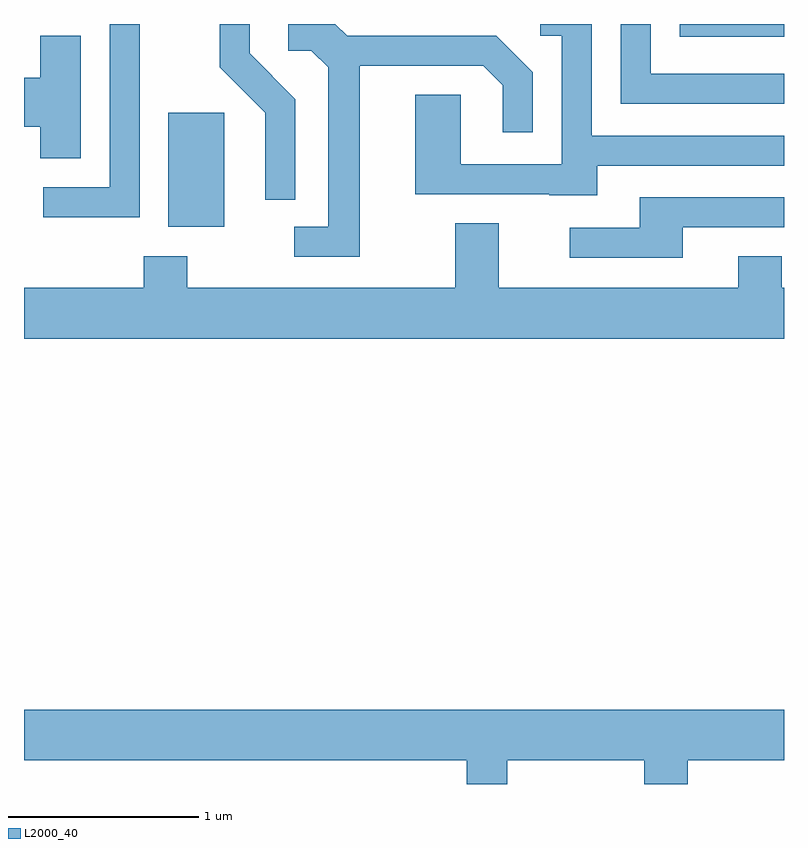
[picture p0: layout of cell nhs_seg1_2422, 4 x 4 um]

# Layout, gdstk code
import gdstk
lib = gdstk.Library(unit=1e-6, precision=1e-09)
def R(c, l, rs):  # rectangles x0, y0, x1, y1
    for r in rs: c.add(gdstk.rectangle(r[:2], r[2:], *l))
def P(c, l, *ps):  # polygons
    for p in ps: c.add(gdstk.Polygon(p, *l))
L2000_40 = (2000, 40)

nhs_seg1_2422 = lib.new_cell('nhs_seg1_2422')
R(nhs_seg1_2422, L2000_40, [(260.371,864.646,260.664,865.244), (263.061,865.646,263.611,865.712)])
P(nhs_seg1_2422, L2000_40, [(260.219,865.712),(260.061,865.712),(260.061,864.854),(259.712,864.854),(259.712,864.696),(260.219,864.696)],
  [(261.039,865.317),(260.799,865.557),(260.799,865.712),(260.641,865.712),(260.641,865.484),(260.881,865.244),(260.881,864.788),(261.039,864.788)],
  [(263.611,865.449),(262.909,865.449),(262.909,865.712),(262.751,865.712),(262.751,865.291),(263.611,865.291)],
  [(262.629,864.966),(263.611,864.966),(263.611,865.124),(262.599,865.124),(262.599,865.712),(262.328,865.712),(262.328,865.651),(262.441,865.651),(262.441,864.974),(261.909,864.974),(261.909,865.339),(261.671,865.339),(261.671,864.816),(262.375,864.816),(262.375,864.811),(262.629,864.811)],
  [(261.379,865.491),(262.029,865.491),(262.131,865.389),(262.131,865.143),(262.289,865.143),(262.289,865.457),(262.097,865.649),(261.312,865.649),(261.248,865.712),(261.003,865.712),(261.003,865.571),(261.123,865.571),(261.211,865.484),(261.211,864.644),(261.033,864.644),(261.033,864.486),(261.379,864.486)],
  [(259.909,865.649),(259.696,865.649),(259.696,865.429),(259.611,865.429),(259.611,865.171),(259.696,865.171),(259.696,865.006),(259.909,865.006)],
  [(263.079,864.641),(263.611,864.641),(263.611,864.799),(262.851,864.799),(262.851,864.639),(262.483,864.639),(262.483,864.481),(263.079,864.481)],
  [(263.611,864.324),(263.599,864.324),(263.599,864.489),(263.371,864.489),(263.371,864.324),(262.109,864.324),(262.109,864.664),(261.881,864.664),(261.881,864.324),(260.469,864.324),(260.469,864.489),(260.241,864.489),(260.241,864.324),(259.611,864.324),(259.611,864.056),(263.611,864.056)],
  [(262.154,861.836),(262.876,861.836),(262.876,861.712),(263.104,861.712),(263.104,861.836),(263.611,861.836),(263.611,862.104),(259.611,862.104),(259.611,861.836),(261.941,861.836),(261.941,861.712),(262.154,861.712)])

lib.write_gds('nhs_seg1_2422.gds')
